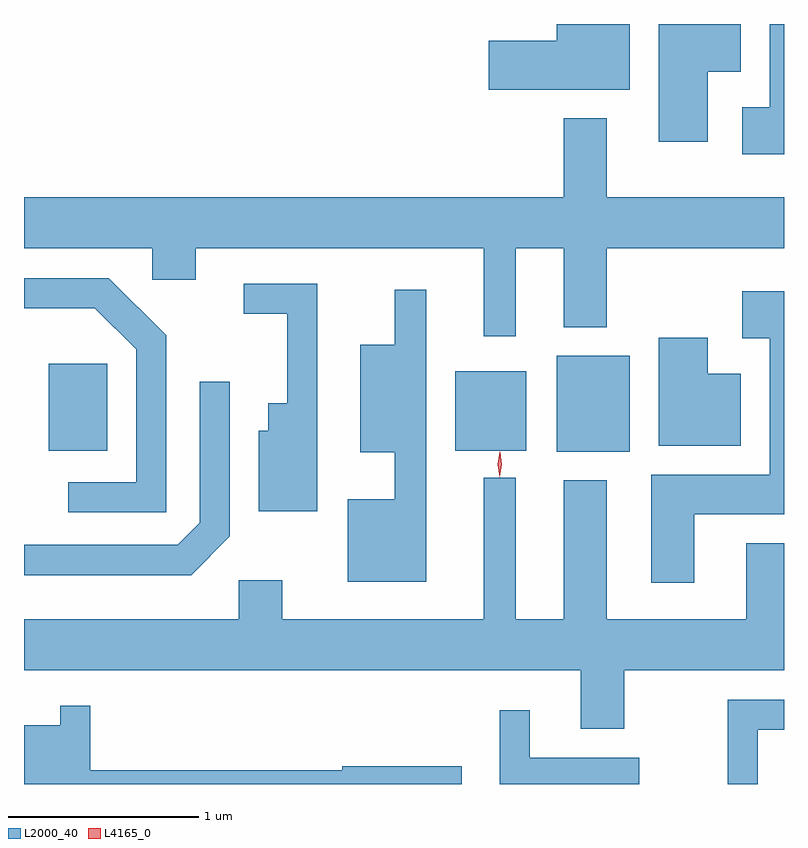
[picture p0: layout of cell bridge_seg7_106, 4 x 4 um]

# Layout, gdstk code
import gdstk
lib = gdstk.Library(unit=1e-6, precision=1e-09)
def R(c, l, rs):  # rectangles x0, y0, x1, y1
    for r in rs: c.add(gdstk.rectangle(r[:2], r[2:], *l))
def P(c, l, *ps):  # polygons
    for p in ps: c.add(gdstk.Polygon(p, *l))
L2000_40 = (2000, 40)
L4165_0 = (4165, 0)

bridge_seg7_106 = lib.new_cell('bridge_seg7_106')
R(bridge_seg7_106, L2000_40, [(1632.016,1773.186,1632.399,1773.689), (1629.341,1773.191,1629.649,1773.649), (1631.481,1773.191,1631.854,1773.609)])
P(bridge_seg7_106, L2000_40, [(1632.809,1775.186),(1632.984,1775.186),(1632.984,1775.436),(1632.551,1775.436),(1632.551,1774.816),(1632.809,1774.816)],
  [(1633.211,1775.436),(1633.136,1775.436),(1633.136,1774.999),(1632.991,1774.999),(1632.991,1774.751),(1633.211,1774.751)],
  [(1632.399,1775.436),(1632.016,1775.436),(1632.016,1775.349),(1631.656,1775.349),(1631.656,1775.091),(1632.399,1775.091)],
  [(1631.799,1774.256),(1632.051,1774.256),(1632.051,1773.841),(1632.279,1773.841),(1632.279,1774.256),(1633.211,1774.256),(1633.211,1774.524),(1632.279,1774.524),(1632.279,1774.939),(1632.051,1774.939),(1632.051,1774.524),(1629.211,1774.524),(1629.211,1774.256),(1629.886,1774.256),(1629.886,1774.091),(1630.114,1774.091),(1630.114,1774.256),(1631.631,1774.256),(1631.631,1773.793),(1631.799,1773.793)],
  [(1629.959,1773.797),(1629.657,1774.099),(1629.211,1774.099),(1629.211,1773.941),(1629.584,1773.941),(1629.801,1773.724),(1629.801,1773.024),(1629.443,1773.024),(1629.443,1772.866),(1629.959,1772.866)],
  [(1630.754,1774.069),(1630.368,1774.069),(1630.368,1773.911),(1630.596,1773.911),(1630.596,1773.439),(1630.496,1773.439),(1630.496,1773.294),(1630.446,1773.294),(1630.446,1772.871),(1630.754,1772.871)],
  [(1631.329,1774.038),(1631.161,1774.038),(1631.161,1773.749),(1630.981,1773.749),(1630.981,1773.181),(1631.161,1773.181),(1631.161,1772.934),(1630.916,1772.934),(1630.916,1772.501),(1631.329,1772.501)],
  [(1632.739,1772.856),(1633.211,1772.856),(1633.211,1774.029),(1632.991,1774.029),(1632.991,1773.781),(1633.136,1773.781),(1633.136,1773.064),(1632.511,1773.064),(1632.511,1772.496),(1632.739,1772.496)],
  [(1632.984,1773.594),(1632.809,1773.594),(1632.809,1773.784),(1632.551,1773.784),(1632.551,1773.216),(1632.984,1773.216)],
  [(1630.294,1772.739),(1630.294,1773.553),(1630.136,1773.553),(1630.136,1772.812),(1630.019,1772.694),(1629.211,1772.694),(1629.211,1772.536),(1630.092,1772.536)],
  [(1632.369,1772.036),(1633.211,1772.036),(1633.211,1772.704),(1633.011,1772.704),(1633.011,1772.304),(1632.279,1772.304),(1632.279,1773.034),(1632.051,1773.034),(1632.051,1772.304),(1631.799,1772.304),(1631.799,1773.048),(1631.631,1773.048),(1631.631,1772.304),(1630.569,1772.304),(1630.569,1772.509),(1630.341,1772.509),(1630.341,1772.304),(1629.211,1772.304),(1629.211,1772.036),(1632.141,1772.036),(1632.141,1771.726),(1632.369,1771.726)],
  [(1633.074,1771.721),(1633.211,1771.721),(1633.211,1771.879),(1632.916,1771.879),(1632.916,1771.436),(1633.074,1771.436)],
  [(1631.514,1771.529),(1630.886,1771.529),(1630.886,1771.509),(1629.559,1771.509),(1629.559,1771.848),(1629.401,1771.848),(1629.401,1771.744),(1629.211,1771.744),(1629.211,1771.436),(1631.514,1771.436)],
  [(1632.449,1771.574),(1631.874,1771.574),(1631.874,1771.823),(1631.716,1771.823),(1631.716,1771.436),(1632.449,1771.436)])
P(bridge_seg7_106, L4165_0, [(1631.714,1773.05),(1631.714,1773.05),(1631.704,1773.118),(1631.714,1773.186),(1631.714,1773.186),(1631.715,1773.186),(1631.724,1773.118),(1631.715,1773.05)],
  [(1631.715,1773.053),(1631.715,1773.053),(1631.706,1773.117),(1631.716,1773.181),(1631.717,1773.182),(1631.717,1773.181),(1631.726,1773.117),(1631.716,1773.053)])

lib.write_gds('bridge_seg7_106.gds')
